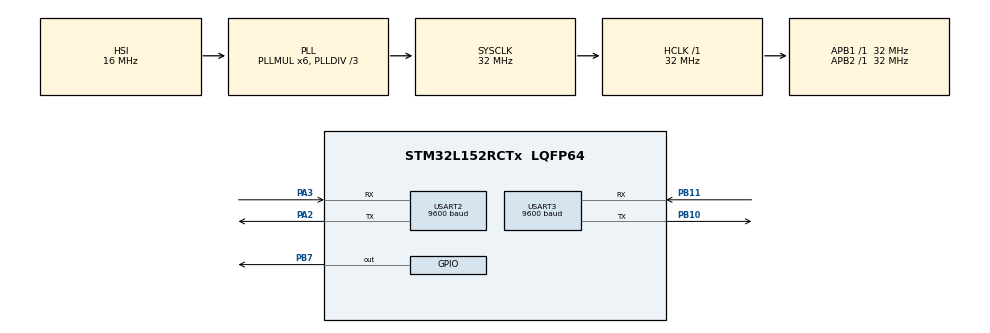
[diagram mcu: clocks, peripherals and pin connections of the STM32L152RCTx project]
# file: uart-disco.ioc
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Mcu.Family=STM32L1
Mcu.Name=STM32L152RCTx
Mcu.Package=LQFP64
NVIC.PriorityGroup=NVIC_PRIORITYGROUP_0
NVIC.USART3_IRQn=true\:0\:0\:false\:false\:true\:true\:true
PA10.Signal=USART1_RX
PA13.GPIO_Label=SWDIO
PA13.Signal=SYS_JTMS-SWDIO
PA2.Mode=Asynchronous
PA2.Signal=USART2_TX
PA3.Mode=Asynchronous
PA3.Signal=USART2_RX
PA9.Signal=USART1_TX
PB10.Mode=Asynchronous
PB10.Signal=USART3_TX
PB11.Mode=Asynchronous
PB11.Signal=USART3_RX
PB7.Signal=GPIO_Output
ProjectManager.HeapSize=0x200
ProjectManager.StackSize=0x400
ProjectManager.TargetToolchain=STM32CubeIDE
RCC.48MHZClocksFreq_Value=48000000
RCC.AHBFreq_Value=32000000
RCC.APB1Freq_Value=32000000
RCC.APB1TimFreq_Value=32000000
RCC.APB2Freq_Value=32000000
RCC.APB2TimFreq_Value=32000000
RCC.HCLKFreq_Value=32000000
RCC.HSE_VALUE=8000000
RCC.HSI_VALUE=16000000
RCC.LSE_VALUE=32768
RCC.MSI_VALUE=2097000
RCC.PLLDIV=RCC_PLL_DIV3
RCC.PLLMUL=RCC_PLL_MUL6
RCC.RTCClockSelectionVirtual=RCC_RTCCLKSOURCE_LSE
RCC.SYSCLKFreq_VALUE=32000000
RCC.SYSCLKSource=RCC_SYSCLKSOURCE_PLLCLK
RCC.USBOutput=48000000
RCC.VCOOutputFreq_Value=96000000
USART2.BaudRate=9600
USART2.VirtualMode=VM_ASYNC
USART3.BaudRate=9600
USART3.VirtualMode=VM_ASYNC
board=STM32L152C-DISCO

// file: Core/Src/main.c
/* USER CODE BEGIN Header */
/**
  ******************************************************************************
  * @file           : main.c
  * @brief          : Main program body
  ******************************************************************************
  * @attention
  *
  * Copyright (c) 2022 STMicroelectronics.
  * All rights reserved.
  *
  * This software is licensed under terms that can be found in the LICENSE file
  * in the root directory of this software component.
  * If no LICENSE file comes with this software, it is provided AS-IS.
  *
  ******************************************************************************
  */
/* USER CODE END Header */
#include "main.h"

/* USER CODE BEGIN Includes */
#include <stdio.h>
#include <stdbool.h>
#include <string.h>
/* USER CODE END Includes */

/* USER CODE BEGIN PTD */
void show_menu();
/* USER CODE END PTD */

UART_HandleTypeDef huart2;
UART_HandleTypeDef huart3;

void SystemClock_Config(void);
static void MX_GPIO_Init(void);
static void MX_USART2_UART_Init(void);
static void MX_USART3_UART_Init(void);

/* USER CODE BEGIN 0 */
uint8_t uart2_buf[50];
int uart2_buf_len;

uint8_t uart3_buf[50];
int uart3_buf_len;

/* USER CODE END 0 */

int main(void)
{

  /* MCU Configuration--------------------------------------------------------*/

  /* Reset of all peripherals, Initializes the Flash interface and the Systick. */
  HAL_Init();

  /* Configure the system clock */
  SystemClock_Config();

  /* Initialize all configured peripherals */
  MX_GPIO_Init();
  MX_USART2_UART_Init();
  MX_USART3_UART_Init();
  /* USER CODE BEGIN 2 */
  show_menu();
  /* USER CODE END 2 */

  /* Infinite loop */
  while (1)
  {

    /* USER CODE BEGIN 3 */
	  //show_menu();

  }
  /* USER CODE END 3 */
}

void SystemClock_Config(void)
{
  RCC_OscInitTypeDef RCC_OscInitStruct = {0};
  RCC_ClkInitTypeDef RCC_ClkInitStruct = {0};

  /** Configure the main internal regulator output voltage
  */
  __HAL_PWR_VOLTAGESCALING_CONFIG(PWR_REGULATOR_VOLTAGE_SCALE1);
  /** Initializes the RCC Oscillators according to the specified parameters
  * in the RCC_OscInitTypeDef structure.
  */
  RCC_OscInitStruct.OscillatorType = RCC_OSCILLATORTYPE_HSI;
  RCC_OscInitStruct.HSIState = RCC_HSI_ON;
  RCC_OscInitStruct.HSICalibrationValue = RCC_HSICALIBRATION_DEFAULT;
  RCC_OscInitStruct.PLL.PLLState = RCC_PLL_ON;
  RCC_OscInitStruct.PLL.PLLSource = RCC_PLLSOURCE_HSI;
  RCC_OscInitStruct.PLL.PLLMUL = RCC_PLL_MUL6;
  RCC_OscInitStruct.PLL.PLLDIV = RCC_PLL_DIV3;
  if (HAL_RCC_OscConfig(&RCC_OscInitStruct) != HAL_OK)
  {
    Error_Handler();
  }
  /** Initializes the CPU, AHB and APB buses clocks
  */
  RCC_ClkInitStruct.ClockType = RCC_CLOCKTYPE_HCLK|RCC_CLOCKTYPE_SYSCLK
                              |RCC_CLOCKTYPE_PCLK1|RCC_CLOCKTYPE_PCLK2;
  RCC_ClkInitStruct.SYSCLKSource = RCC_SYSCLKSOURCE_PLLCLK;
  RCC_ClkInitStruct.AHBCLKDivider = RCC_SYSCLK_DIV1;
  RCC_ClkInitStruct.APB1CLKDivider = RCC_HCLK_DIV1;
  RCC_ClkInitStruct.APB2CLKDivider = RCC_HCLK_DIV1;

  if (HAL_RCC_ClockConfig(&RCC_ClkInitStruct, FLASH_LATENCY_1) != HAL_OK)
  {
    Error_Handler();
  }
}

static void MX_USART2_UART_Init(void)
{

  huart2.Instance = USART2;
  huart2.Init.BaudRate = 115200;
  huart2.Init.WordLength = UART_WORDLENGTH_8B;
  huart2.Init.StopBits = UART_STOPBITS_1;
  huart2.Init.Parity = UART_PARITY_NONE;
  huart2.Init.Mode = UART_MODE_TX_RX;
  huart2.Init.HwFlowCtl = UART_HWCONTROL_NONE;
  huart2.Init.OverSampling = UART_OVERSAMPLING_16;
  if (HAL_UART_Init(&huart2) != HAL_OK)
  {
    Error_Handler();
  }

}

static void MX_USART3_UART_Init(void)
{

  huart3.Instance = USART3;
  huart3.Init.BaudRate = 115200;
  huart3.Init.WordLength = UART_WORDLENGTH_8B;
  huart3.Init.StopBits = UART_STOPBITS_1;
  huart3.Init.Parity = UART_PARITY_NONE;
  huart3.Init.Mode = UART_MODE_TX_RX;
  huart3.Init.HwFlowCtl = UART_HWCONTROL_NONE;
  huart3.Init.OverSampling = UART_OVERSAMPLING_8;
  if (HAL_UART_Init(&huart3) != HAL_OK)
  {
    Error_Handler();
  }

}

static void MX_GPIO_Init(void)
{
  GPIO_InitTypeDef GPIO_InitStruct = {0};

  /* GPIO Ports Clock Enable */
  __HAL_RCC_GPIOA_CLK_ENABLE();
  __HAL_RCC_GPIOB_CLK_ENABLE();

  /*Configure GPIO pin Output Level */
  HAL_GPIO_WritePin(GPIOB, GPIO_PIN_7, GPIO_PIN_RESET);

  /*Configure GPIO pins : PA9 PA10 */
  GPIO_InitStruct.Pin = GPIO_PIN_9|GPIO_PIN_10;
  GPIO_InitStruct.Mode = GPIO_MODE_AF_PP;
  GPIO_InitStruct.Pull = GPIO_NOPULL;
  GPIO_InitStruct.Speed = GPIO_SPEED_FREQ_VERY_HIGH;
  GPIO_InitStruct.Alternate = GPIO_AF7_USART1;
  HAL_GPIO_Init(GPIOA, &GPIO_InitStruct);

  /*Configure GPIO pin : PB7 */
  GPIO_InitStruct.Pin = GPIO_PIN_7;
  GPIO_InitStruct.Mode = GPIO_MODE_OUTPUT_PP;
  GPIO_InitStruct.Pull = GPIO_NOPULL;
  GPIO_InitStruct.Speed = GPIO_SPEED_FREQ_LOW;
  HAL_GPIO_Init(GPIOB, &GPIO_InitStruct);

}

/* USER CODE BEGIN 4 */
void HAL_UART_RxCpltCallback(UART_HandleTypeDef *huart){

	uint8_t buf[20];
	int buf_len;

	if(uart3_buf[0] == '1'){

		HAL_UART_Transmit(&huart2, (uint8_t*)"1", 1, HAL_MAX_DELAY);

		//wait for answer from nRF52832
		HAL_UART_Receive(&huart2, buf, 9, HAL_MAX_DELAY);

		//just for visualization
		HAL_GPIO_TogglePin(GPIOB, GPIO_PIN_7);

		//check answer in terminal
		HAL_UART_Transmit(&huart3, buf, 9, HAL_MAX_DELAY);
		HAL_UART_Transmit(&huart3, (uint8_t*)"\r\n", 2, HAL_MAX_DELAY);

		show_menu();

	}else if(uart3_buf[0] == '2'){

		HAL_UART_Transmit(&huart2, (uint8_t*)"2", 1, HAL_MAX_DELAY);

		//wait for answer from nRF52832
		HAL_UART_Receive(&huart2, buf, 3, HAL_MAX_DELAY);

		HAL_GPIO_TogglePin(GPIOB, GPIO_PIN_7);

		//check answer in terminal
		HAL_UART_Transmit(&huart3, buf, 3, HAL_MAX_DELAY);
		HAL_UART_Transmit(&huart3, (uint8_t*)"\r\n", 2, HAL_MAX_DELAY);

		show_menu();

	}else if(uart3_buf[0] == '3'){

		HAL_UART_Transmit(&huart2, (uint8_t*)"3", 1, HAL_MAX_DELAY);

		//wait for answer from nRF52832
		HAL_UART_Receive(&huart2, uart2_buf, 2, HAL_MAX_DELAY);

		HAL_GPIO_TogglePin(GPIOB, GPIO_PIN_7);

		//check answer in terminal
		HAL_UART_Transmit(&huart3, uart2_buf, 2, HAL_MAX_DELAY);
		HAL_UART_Transmit(&huart3, (uint8_t*)"\r\n", 2, HAL_MAX_DELAY);
		show_menu();
	}else if(uart3_buf[0] == '4'){

		HAL_UART_Transmit(&huart2, (uint8_t*)"4", 1, HAL_MAX_DELAY);

		//wait for answer from nRF52832
		HAL_UART_Receive(&huart2, uart2_buf, 3, HAL_MAX_DELAY);

		HAL_GPIO_TogglePin(GPIOB, GPIO_PIN_7);

		//check answer in terminal
		HAL_UART_Transmit(&huart3, uart2_buf, 3, HAL_MAX_DELAY);
		HAL_UART_Transmit(&huart3, (uint8_t*)"\r\n", 2, HAL_MAX_DELAY);
		show_menu();
	}
}

void show_menu(){
	  uart3_buf_len = sprintf(uart3_buf, "Welcome to nRF52832 - STM32L152 UART app\r\n");
	  HAL_UART_Transmit(&huart3, (uint8_t*)uart3_buf, uart3_buf_len, HAL_MAX_DELAY);

	  uart3_buf_len = sprintf(uart3_buf, "1. Connect to Polar H10\r\n");
	  HAL_UART_Transmit(&huart3, (uint8_t*)uart3_buf, uart3_buf_len, HAL_MAX_DELAY);

	  uart3_buf_len = sprintf(uart3_buf, "2. Disconnect from Polar H10\r\n");
	  HAL_UART_Transmit(&huart3, (uint8_t*)uart3_buf, uart3_buf_len, HAL_MAX_DELAY);

	  uart3_buf_len = sprintf(uart3_buf, "3. Read heart rate sensor\r\n");
	  HAL_UART_Transmit(&huart3, (uint8_t*)uart3_buf, uart3_buf_len, HAL_MAX_DELAY);

	  uart3_buf_len = sprintf(uart3_buf, "4. OTA\r\n");
	  HAL_UART_Transmit(&huart3, (uint8_t*)uart3_buf, uart3_buf_len, HAL_MAX_DELAY);

	 HAL_UART_Receive_IT(&huart3, uart3_buf, 1);
}

/* USER CODE END 4 */

void Error_Handler(void)
{
  __disable_irq();
  while (1)
  {
  }
}
